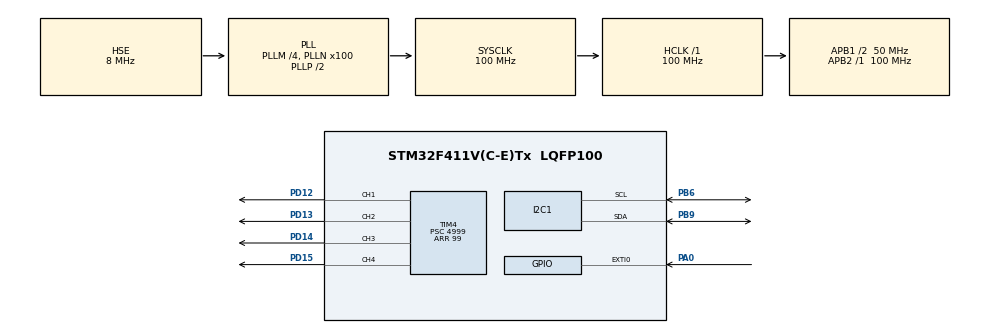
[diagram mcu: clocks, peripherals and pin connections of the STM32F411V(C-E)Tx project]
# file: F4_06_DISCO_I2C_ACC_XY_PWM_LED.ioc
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Dma.Request0=TIM4_CH1
Dma.Request1=TIM4_CH2
Dma.Request2=TIM4_CH3
Dma.TIM4_CH1.0.Direction=DMA_MEMORY_TO_PERIPH
Dma.TIM4_CH1.0.FIFOMode=DMA_FIFOMODE_DISABLE
Dma.TIM4_CH1.0.Instance=DMA1_Stream0
Dma.TIM4_CH1.0.MemDataAlignment=DMA_MDATAALIGN_HALFWORD
Dma.TIM4_CH1.0.MemInc=DMA_MINC_ENABLE
Dma.TIM4_CH1.0.Mode=DMA_CIRCULAR
Dma.TIM4_CH1.0.PeriphDataAlignment=DMA_PDATAALIGN_HALFWORD
Dma.TIM4_CH1.0.PeriphInc=DMA_PINC_DISABLE
Dma.TIM4_CH1.0.Priority=DMA_PRIORITY_LOW
Dma.TIM4_CH2.1.Direction=DMA_MEMORY_TO_PERIPH
Dma.TIM4_CH2.1.FIFOMode=DMA_FIFOMODE_DISABLE
Dma.TIM4_CH2.1.Instance=DMA1_Stream3
Dma.TIM4_CH2.1.MemDataAlignment=DMA_MDATAALIGN_HALFWORD
Dma.TIM4_CH2.1.MemInc=DMA_MINC_ENABLE
Dma.TIM4_CH2.1.Mode=DMA_CIRCULAR
Dma.TIM4_CH2.1.PeriphDataAlignment=DMA_PDATAALIGN_HALFWORD
Dma.TIM4_CH2.1.PeriphInc=DMA_PINC_DISABLE
Dma.TIM4_CH2.1.Priority=DMA_PRIORITY_LOW
Dma.TIM4_CH3.2.Direction=DMA_MEMORY_TO_PERIPH
Dma.TIM4_CH3.2.FIFOMode=DMA_FIFOMODE_DISABLE
Dma.TIM4_CH3.2.Instance=DMA1_Stream7
Dma.TIM4_CH3.2.MemDataAlignment=DMA_MDATAALIGN_HALFWORD
Dma.TIM4_CH3.2.MemInc=DMA_MINC_ENABLE
Dma.TIM4_CH3.2.Mode=DMA_CIRCULAR
Dma.TIM4_CH3.2.PeriphDataAlignment=DMA_PDATAALIGN_HALFWORD
Dma.TIM4_CH3.2.PeriphInc=DMA_PINC_DISABLE
Dma.TIM4_CH3.2.Priority=DMA_PRIORITY_LOW
I2C1.I2C_Mode=I2C_Fast
Mcu.Family=STM32F4
Mcu.Name=STM32F411V(C-E)Tx
Mcu.Package=LQFP100
NVIC.DMA1_Stream0_IRQn=true\:0\:0\:false\:false\:true\:false\:true\:true
NVIC.DMA1_Stream3_IRQn=true\:0\:0\:false\:false\:true\:false\:true\:true
NVIC.DMA1_Stream7_IRQn=true\:0\:0\:false\:false\:true\:false\:true\:true
NVIC.PriorityGroup=NVIC_PRIORITYGROUP_0
PA0-WKUP.GPIO_ModeDefaultEXTI=GPIO_MODE_EVT_RISING
PA0-WKUP.Signal=GPXTI0
PA13.GPIO_Label=SWDIO
PA13.Mode=Serial_Wire
PA13.Signal=SYS_JTMS-SWDIO
PA14.GPIO_Label=SWCLK
PA14.Mode=Serial_Wire
PA14.Signal=SYS_JTCK-SWCLK
PB3.GPIO_Label=SWO
PB3.Signal=SYS_JTDO-SWO
PB6.Mode=I2C
PB6.Signal=I2C1_SCL
PB9.Mode=I2C
PB9.Signal=I2C1_SDA
PD12.Signal=S_TIM4_CH1
PD13.Signal=S_TIM4_CH2
PD14.Signal=S_TIM4_CH3
PD15.Signal=S_TIM4_CH4
PH0\ -\ OSC_IN.GPIO_Label=PH0-OSC_IN
PH0\ -\ OSC_IN.Mode=HSE-External-Oscillator
PH0\ -\ OSC_IN.Signal=RCC_OSC_IN
PH1\ -\ OSC_OUT.GPIO_Label=PH1-OSC_OUT
PH1\ -\ OSC_OUT.Mode=HSE-External-Oscillator
PH1\ -\ OSC_OUT.Signal=RCC_OSC_OUT
ProjectManager.HeapSize=0x200
ProjectManager.StackSize=0x400
ProjectManager.TargetToolchain=STM32CubeIDE
RCC.48MHZClocksFreq_Value=25000000
RCC.AHBFreq_Value=100000000
RCC.APB1CLKDivider=RCC_HCLK_DIV2
RCC.APB1Freq_Value=50000000
RCC.APB1TimFreq_Value=100000000
RCC.APB2Freq_Value=100000000
RCC.APB2TimFreq_Value=100000000
RCC.CortexFreq_Value=100000000
RCC.HCLKFreq_Value=100000000
RCC.HSE_VALUE=8000000
RCC.HSI_VALUE=16000000
RCC.LSE_VALUE=32768
RCC.PLLI2SM=5
RCC.PLLI2SN=200
RCC.PLLM=4
RCC.PLLN=100
RCC.PLLQ=8
RCC.PLLSourceVirtual=RCC_PLLSOURCE_HSE
RCC.SYSCLKFreq_VALUE=100000000
RCC.SYSCLKSource=RCC_SYSCLKSOURCE_PLLCLK
RCC.VCOOutputFreq_Value=200000000
SH.S_TIM4_CH1.0=TIM4_CH1,PWM Generation1 CH1
SH.S_TIM4_CH2.0=TIM4_CH2,PWM Generation2 CH2
SH.S_TIM4_CH3.0=TIM4_CH3,PWM Generation3 CH3
SH.S_TIM4_CH4.0=TIM4_CH4,PWM Generation4 CH4
TIM4.Channel-PWM\ Generation1\ CH1=TIM_CHANNEL_1
TIM4.Channel-PWM\ Generation2\ CH2=TIM_CHANNEL_2
TIM4.Channel-PWM\ Generation3\ CH3=TIM_CHANNEL_3
TIM4.Channel-PWM\ Generation4\ CH4=TIM_CHANNEL_4
TIM4.Period=99
TIM4.Prescaler=4999
VP_TIM4_VS_ClockSourceINT.Mode=Internal
board=STM32F411E-DISCO

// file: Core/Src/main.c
/* USER CODE BEGIN Header */
/**
  ******************************************************************************
  * @file           : main.c
  * @brief          : Main program body
  ******************************************************************************
  * @attention
  *
  * Copyright (c) 2023 STMicroelectronics.
  * All rights reserved.
  *
  * This software is licensed under terms that can be found in the LICENSE file
  * in the root directory of this software component.
  * If no LICENSE file comes with this software, it is provided AS-IS.
  *
  ******************************************************************************
  */
/* USER CODE END Header */
#include "main.h"
#include "dma.h"
#include "i2c.h"
#include "tim.h"
#include "gpio.h"

/* USER CODE BEGIN Includes */
#include <limits.h>
/* USER CODE END Includes */

/* USER CODE BEGIN PD */
#define AXES 2							// the number of axes (1 - X, 2 - XY, 3 - XYZ)
#define LSM303_ACC_ADRESS (0x19 << 1)	// adres akcelerometru: 0011 001x
#define LSM303_ACC_CTRL_REG1_A 0x20		// rejestr ustawien 1
#define LSM303_ACC_OUT_X_L_A 0x28		// 0010 1000
#define LSM303_ACC_XY_L_A_MULTI_READ (LSM303_ACC_OUT_X_L_A | 0x80)

// CTRL_REG1_A = [ODR3][ODR2][ODR1][ODR0][LPEN][ZEN][YEN][XEN]
#define LSM303_ACC_YX_ENABLE 0x03		// 0000 0011
#define LSM303_ACC_100HZ 0x50			// 0101 0000
#define LSM303_ACC_RESOLUTION 2.0		// Maksymalna wartosc przyspieszenia [g]
#define HOLD 800

/* USER CODE END PD */

/* USER CODE BEGIN PV */
uint8_t Settings = LSM303_ACC_YX_ENABLE | LSM303_ACC_100HZ;
uint8_t Data[AXES * 2];
int16_t Axes[AXES];
uint16_t DutyB;							// TIM4_CH4 - PD15 - B - DOWN
uint16_t DutyR;							// TIM4_CH3 - PD14 - R - RIGHT
uint16_t DutyO;							// TIM4_CH2 - PD13 - O - UP
uint16_t DutyG;							// TIM4_CH1 - PD12 - G - LEFT
float Axes_g[AXES];
int i, j;
/* USER CODE END PV */

void SystemClock_Config(void);

int main(void)
{

  /* MCU Configuration--------------------------------------------------------*/

  /* Reset of all peripherals, Initializes the Flash interface and the Systick. */
  HAL_Init();

  /* Configure the system clock */
  SystemClock_Config();

  /* Initialize all configured peripherals */
  MX_GPIO_Init();
  MX_DMA_Init();
  MX_I2C1_Init();
  MX_TIM4_Init();
  /* USER CODE BEGIN 2 */
  HAL_TIM_PWM_Start_DMA(&htim4, TIM_CHANNEL_1, (uint32_t *) &DutyG, 1);
  HAL_TIM_PWM_Start_DMA(&htim4, TIM_CHANNEL_2, (uint32_t *) &DutyO, 1);
  HAL_TIM_PWM_Start_DMA(&htim4, TIM_CHANNEL_3, (uint32_t *) &DutyR, 1);
  HAL_TIM_PWM_Start(&htim4, TIM_CHANNEL_4);
  HAL_I2C_Mem_Write(&hi2c1, LSM303_ACC_ADRESS, LSM303_ACC_CTRL_REG1_A, 1, &Settings, 1, 100);
  /* USER CODE END 2 */

  /* Infinite loop */
  /* USER CODE BEGIN WHILE */
  while (1)
  {
	  HAL_I2C_Mem_Read(&hi2c1, LSM303_ACC_ADRESS, LSM303_ACC_XY_L_A_MULTI_READ, 1, Data, AXES * 2, 100);
	  for (i = 0; i < AXES; i++)	// 0 - X, 1 - Y, 2 - Z
	  {
		  j = i * 2;
		  Axes[i] = (Data[j + 1] << 8 | Data[j]);
		  Axes_g[i] = ((float) Axes[i] * LSM303_ACC_RESOLUTION) / (float) INT16_MAX;
	  }
	  if (Axes[0] < HOLD && Axes[0] > -1 * HOLD)
	  {
		  DutyB = DutyO = 0;
	  }
	  else if (Axes[0] > 0)			// X (UP-DOWN)
	  {
		  DutyB = (uint16_t) ( (Axes[0] * LSM303_ACC_RESOLUTION - HOLD) * (htim4.Init.Period + 1) / INT16_MAX );
		  DutyO = 0;
	  }
	  else if (Axes[0] < 0)			// X (UP-DOWN)
	  {
		  DutyO = (uint16_t) ( ((-1) * Axes[0] * LSM303_ACC_RESOLUTION - HOLD) * (htim4.Init.Period + 1) / INT16_MAX);
		  DutyB = 0;
	  }
	  TIM4->CCR4 = (uint32_t) DutyB;

	  if (Axes[1] < HOLD && Axes[1] > - 1 * HOLD)
	  {
		  DutyG = DutyR = 0;
	  }
	  else if (Axes[1] > 0)			// Y (LEFT-RIGHT)
	  {
		  DutyR = (uint16_t) (((Axes[1] * LSM303_ACC_RESOLUTION) - HOLD) * (htim4.Init.Period + 1) / INT16_MAX);
		  DutyG = 0;
	  }
	  else if (Axes[1] < 0)			// Y (LEFT-RIGHT)
	  {
		  DutyG = (uint16_t) ( ( ((-1) * Axes[1] * LSM303_ACC_RESOLUTION) - HOLD ) * (htim4.Init.Period + 1) / INT16_MAX);
		  DutyR = 0;
	  }
    /* USER CODE END WHILE */

  }
}

void SystemClock_Config(void)
{
  RCC_OscInitTypeDef RCC_OscInitStruct = {0};
  RCC_ClkInitTypeDef RCC_ClkInitStruct = {0};

  /** Configure the main internal regulator output voltage
  */
  __HAL_RCC_PWR_CLK_ENABLE();
  __HAL_PWR_VOLTAGESCALING_CONFIG(PWR_REGULATOR_VOLTAGE_SCALE1);

  /** Initializes the RCC Oscillators according to the specified parameters
  * in the RCC_OscInitTypeDef structure.
  */
  RCC_OscInitStruct.OscillatorType = RCC_OSCILLATORTYPE_HSE;
  RCC_OscInitStruct.HSEState = RCC_HSE_ON;
  RCC_OscInitStruct.PLL.PLLState = RCC_PLL_ON;
  RCC_OscInitStruct.PLL.PLLSource = RCC_PLLSOURCE_HSE;
  RCC_OscInitStruct.PLL.PLLM = 4;
  RCC_OscInitStruct.PLL.PLLN = 100;
  RCC_OscInitStruct.PLL.PLLP = RCC_PLLP_DIV2;
  RCC_OscInitStruct.PLL.PLLQ = 8;
  if (HAL_RCC_OscConfig(&RCC_OscInitStruct) != HAL_OK)
  {
    Error_Handler();
  }

  /** Initializes the CPU, AHB and APB buses clocks
  */
  RCC_ClkInitStruct.ClockType = RCC_CLOCKTYPE_HCLK|RCC_CLOCKTYPE_SYSCLK
                              |RCC_CLOCKTYPE_PCLK1|RCC_CLOCKTYPE_PCLK2;
  RCC_ClkInitStruct.SYSCLKSource = RCC_SYSCLKSOURCE_PLLCLK;
  RCC_ClkInitStruct.AHBCLKDivider = RCC_SYSCLK_DIV1;
  RCC_ClkInitStruct.APB1CLKDivider = RCC_HCLK_DIV2;
  RCC_ClkInitStruct.APB2CLKDivider = RCC_HCLK_DIV1;

  if (HAL_RCC_ClockConfig(&RCC_ClkInitStruct, FLASH_LATENCY_3) != HAL_OK)
  {
    Error_Handler();
  }
}

void Error_Handler(void)
{
  __disable_irq();
  while (1)
  {
  }
}
